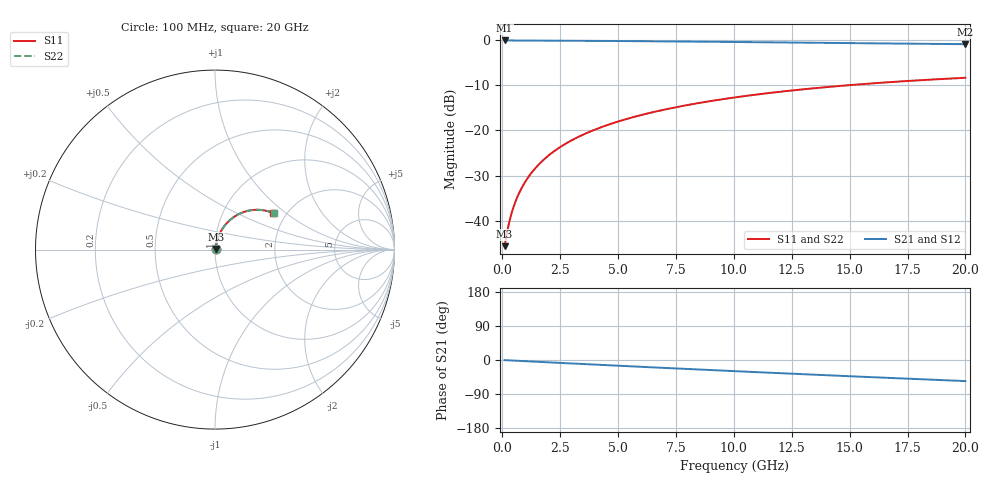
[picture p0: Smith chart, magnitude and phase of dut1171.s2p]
! Touchstone file exported from HFSS 2026.1.0
!  File:  C:/ffzhzh/LocalFiles/Ansys_Project_Files/temp_train_TMRDL_1171_1783162477_22436.aedt
!  Generated:  06:55:56 PM Jul  4, 2026
!  Design:  TMRDL
!  Project:  temp_train_TMRDL_1171_1783162477_22436
! Variables:
!  h_bsmrdl = 2um
!  h_ox = 20um
!  h_rdl = 5um
!  h_sub = 80um
!  h_tmrdl = 5.47um
!  h_tsv = 80um
!  h_via = 3um
!  l_bsmrdl = 300um
!  l_sub = 1333.55um
!  l_tmrdl = 933.55um
!  m_sub = 200um
!  pitch = 30.6um
!  r_tsv = 6um
!  s_tmrdl = 10um
!  w_bsmrdl = 18um
!  w_sub = 500um
!  w_tmrdl = 14.32um
!  x_tsv_center1 = 940.71um
!  x_tsv_center2 = 1258.71um
!  x_tsv_center3 = 2206.58um
!  x_tsv_center4 = 2524.58um
!  x_tsv_center5 = 3472.45um
!  x_tsv_center6 = 3790.45um
# GHz S MA R 50.000000
! Terminal data exported
! Port[1] = TM_RDL1_1_T1
! Port[2] = TM_RDL1_1_T2
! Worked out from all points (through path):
!   200 points, 100 MHz to 20 GHz, reference 50 ohm
!   highest |S21| = -0.04 dB at 100 MHz (marker M1); lowest = -0.9 dB at 20 GHz (marker M2)
!   group delay of S21, straight-line fit = 7.71 ps
!   lowest |S11| = -45.7 dB at 100 MHz (marker M3), VSWR 1.01, Z = 50.4 + j0.294 ohm
!   |S11| at or under -10 dB: start of sweep to 14.87 GHz
!   |S22| runs from -45.7 to -8.3 dB; largest |S21 - S12| = 1.1e-14
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0.1  0.005209 34.0  0.9957 -0.3  0.9957 -0.3  0.005209 34.0
! Gamma 0 0 0 0
! Port Impedance 50 0 50 0
0.2  0.0073 51.2  0.9955 -0.6  0.9955 -0.6  0.0073 51.2
0.3  0.009656 59.8  0.9953 -1.0  0.9953 -1.0  0.009656 59.8
0.4  0.01208 64.9  0.9951 -1.3  0.9951 -1.3  0.01208 64.9
0.5  0.01455 68.3  0.9949 -1.6  0.9949 -1.6  0.01455 68.3
0.6  0.01704 70.7  0.9948 -1.9  0.9948 -1.9  0.01704 70.7
0.8  0.02209 73.7  0.9945 -2.5  0.9945 -2.5  0.02209 73.7
1.1  0.02976 75.9  0.994 -3.4  0.994 -3.4  0.02976 75.9
1.3  0.0349 76.6  0.9937 -4.0  0.9937 -4.0  0.0349 76.6
1.6  0.04259 76.9  0.9931 -4.9  0.9931 -4.9  0.04259 76.9
2.1  0.05535 76.7  0.9919 -6.5  0.9919 -6.5  0.05535 76.7
2.7  0.07044 75.7  0.9902 -8.3  0.9902 -8.3  0.07044 75.7
3.5  0.09012 73.9  0.9875 -10.7  0.9875 -10.7  0.09012 73.9
4.2  0.1069 72.2  0.9849 -12.8  0.9849 -12.8  0.1069 72.2
5  0.1256 70.1  0.9816 -15.1  0.9816 -15.1  0.1256 70.1
5.9  0.1461 67.8  0.9778 -17.7  0.9778 -17.7  0.1461 67.8
6.8  0.1659 65.4  0.9737 -20.3  0.9737 -20.3  0.1659 65.4
8.3  0.1977 61.4  0.9665 -24.6  0.9665 -24.6  0.1977 61.4
10.1  0.2336 56.7  0.9573 -29.6  0.9573 -29.6  0.2336 56.7
13.4  0.2928 48.2  0.9396 -38.6  0.9396 -38.6  0.2928 48.2
16.7  0.343 39.9  0.9218 -47.3  0.9218 -47.3  0.343 39.9
20  0.3838 31.9  0.9053 -55.6  0.9053 -55.6  0.3838 31.8
